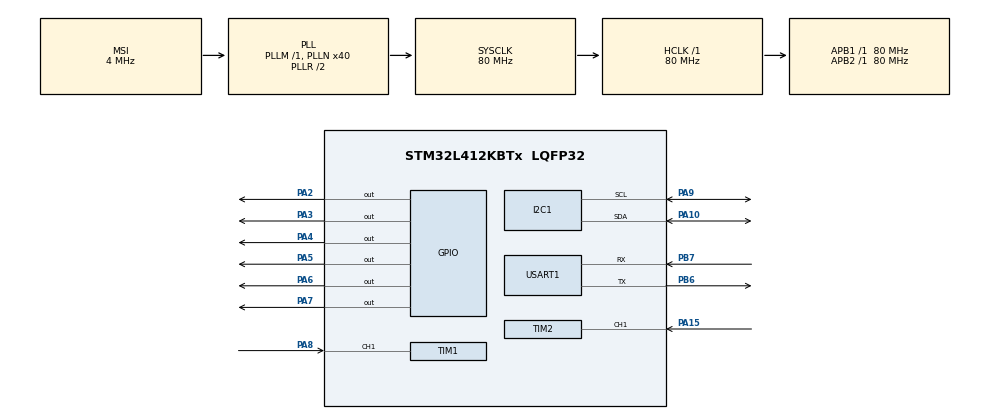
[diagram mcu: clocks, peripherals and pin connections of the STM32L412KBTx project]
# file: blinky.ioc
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I2C1.Timing=0x10D19CE4
Mcu.Family=STM32L4
Mcu.Name=STM32L412KBTx
Mcu.Package=LQFP32
NVIC.PriorityGroup=NVIC_PRIORITYGROUP_4
PA0-CK_IN.Mode=HSE-External-Clock-Source-for-LittleOrca
PA0-CK_IN.Signal=RCC_CK_IN
PA10.Mode=I2C
PA10.Signal=I2C1_SDA
PA13\ (JTMS/SWDIO).Mode=Serial_Wire
PA13\ (JTMS/SWDIO).Signal=SYS_JTMS-SWDIO
PA14\ (JTCK/SWCLK).Mode=Serial_Wire
PA14\ (JTCK/SWCLK).Signal=SYS_JTCK-SWCLK
PA15\ (JTDI).Signal=S_TIM2_CH1
PA2.GPIO_ModeDefaultOutputPP=GPIO_MODE_OUTPUT_PP
PA2.GPIO_PuPd=GPIO_NOPULL
PA2.GPIO_Speed=GPIO_SPEED_FREQ_VERY_HIGH
PA2.PinState=GPIO_PIN_RESET
PA2.Signal=GPIO_Output
PA3.GPIO_ModeDefaultOutputPP=GPIO_MODE_OUTPUT_PP
PA3.GPIO_PuPd=GPIO_NOPULL
PA3.GPIO_Speed=GPIO_SPEED_FREQ_VERY_HIGH
PA3.PinState=GPIO_PIN_RESET
PA3.Signal=GPIO_Output
PA4.GPIO_ModeDefaultOutputPP=GPIO_MODE_OUTPUT_PP
PA4.GPIO_PuPd=GPIO_NOPULL
PA4.GPIO_Speed=GPIO_SPEED_FREQ_VERY_HIGH
PA4.PinState=GPIO_PIN_RESET
PA4.Signal=GPIO_Output
PA5.GPIO_ModeDefaultOutputPP=GPIO_MODE_OUTPUT_PP
PA5.GPIO_PuPd=GPIO_NOPULL
PA5.GPIO_Speed=GPIO_SPEED_FREQ_VERY_HIGH
PA5.PinState=GPIO_PIN_RESET
PA5.Signal=GPIO_Output
PA6.GPIO_ModeDefaultOutputPP=GPIO_MODE_OUTPUT_PP
PA6.GPIO_PuPd=GPIO_NOPULL
PA6.GPIO_Speed=GPIO_SPEED_FREQ_VERY_HIGH
PA6.PinState=GPIO_PIN_RESET
PA6.Signal=GPIO_Output
PA7.GPIO_ModeDefaultOutputPP=GPIO_MODE_OUTPUT_PP
PA7.GPIO_PuPd=GPIO_NOPULL
PA7.GPIO_Speed=GPIO_SPEED_FREQ_VERY_HIGH
PA7.PinState=GPIO_PIN_RESET
PA7.Signal=GPIO_Output
PA8.Signal=S_TIM1_CH1
PA9.Mode=I2C
PA9.Signal=I2C1_SCL
PB6.Mode=Asynchronous
PB6.Signal=USART1_TX
PB7.Mode=Asynchronous
PB7.Signal=USART1_RX
ProjectManager.HeapSize=0x200
ProjectManager.StackSize=0x400
ProjectManager.TargetToolchain=STM32CubeIDE
RCC.ADCFreq_Value=80000000
RCC.AHBFreq_Value=80000000
RCC.APB1Freq_Value=80000000
RCC.APB1TimFreq_Value=80000000
RCC.APB2Freq_Value=80000000
RCC.APB2TimFreq_Value=80000000
RCC.CortexFreq_Value=80000000
RCC.HCLKFreq_Value=80000000
RCC.HSE_VALUE=8000000
RCC.HSI48_VALUE=48000000
RCC.HSI_VALUE=16000000
RCC.MSI_VALUE=4000000
RCC.PLLN=40
RCC.SYSCLKFreq_VALUE=80000000
RCC.SYSCLKSource=RCC_SYSCLKSOURCE_PLLCLK
RCC.USBFreq_Value=4000000
RCC.VCOOutputFreq_Value=160000000
SH.S_TIM1_CH1.0=TIM1_CH1,TriggerSource_TI1FP1
SH.S_TIM2_CH1.0=TIM2_CH1,TriggerSource_TI1FP1
TIM1.Slave_TriggerFilter=15
USART1.VirtualMode-Asynchronous=VM_ASYNC
VP_TIM1_VS_ControllerModeClock.Mode=Clock Mode
VP_TIM2_VS_ControllerModeClock.Mode=Clock Mode
board=custom

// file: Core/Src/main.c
/* USER CODE BEGIN Header */
/**
  ******************************************************************************
  * @file           : main.c
  * @brief          : Main program body
  ******************************************************************************
  * @attention
  *
  * Copyright (c) 2025 STMicroelectronics.
  * All rights reserved.
  *
  * This software is licensed under terms that can be found in the LICENSE file
  * in the root directory of this software component.
  * If no LICENSE file comes with this software, it is provided AS-IS.
  *
  ******************************************************************************
  */
/* USER CODE END Header */
#include "main.h"

I2C_HandleTypeDef hi2c1;

TIM_HandleTypeDef htim1;
TIM_HandleTypeDef htim2;

UART_HandleTypeDef huart1;

/* USER CODE BEGIN PV */
//lcd_t lcd;
/* USER CODE END PV */

void SystemClock_Config(void);
static void MX_GPIO_Init(void);
static void MX_I2C1_Init(void);
static void MX_USART1_UART_Init(void);
static void MX_TIM1_Init(void);
static void MX_TIM2_Init(void);

int main(void)
{

  /* MCU Configuration--------------------------------------------------------*/

  /* Reset of all peripherals, Initializes the Flash interface and the Systick. */
  HAL_Init();

  /* Configure the system clock */
  SystemClock_Config();

  /* Initialize all configured peripherals */
  MX_GPIO_Init();
  MX_I2C1_Init();
  MX_USART1_UART_Init();
  MX_TIM1_Init();
  MX_TIM2_Init();
  /* USER CODE BEGIN 2 */

  //lcd_send_string_pos(&lcd, "Hello, World!", 0, 0);
  //HAL_Delay(1);

  lcd_init_();
  lcd_clear();
  lcd_set_cursor(0, 0);
  lcd_print("Hello, STM32!");
  /* USER CODE END 2 */

  /* Infinite loop */
  while (1)
  {

  }
}

void SystemClock_Config(void)
{
  RCC_OscInitTypeDef RCC_OscInitStruct = {0};
  RCC_ClkInitTypeDef RCC_ClkInitStruct = {0};

  /** Configure the main internal regulator output voltage
  */
  if (HAL_PWREx_ControlVoltageScaling(PWR_REGULATOR_VOLTAGE_SCALE1) != HAL_OK)
  {
    Error_Handler();
  }

  /** Initializes the RCC Oscillators according to the specified parameters
  * in the RCC_OscInitTypeDef structure.
  */
  RCC_OscInitStruct.OscillatorType = RCC_OSCILLATORTYPE_MSI;
  RCC_OscInitStruct.MSIState = RCC_MSI_ON;
  RCC_OscInitStruct.MSICalibrationValue = 0;
  RCC_OscInitStruct.MSIClockRange = RCC_MSIRANGE_6;
  RCC_OscInitStruct.PLL.PLLState = RCC_PLL_ON;
  RCC_OscInitStruct.PLL.PLLSource = RCC_PLLSOURCE_MSI;
  RCC_OscInitStruct.PLL.PLLM = 1;
  RCC_OscInitStruct.PLL.PLLN = 40;
  RCC_OscInitStruct.PLL.PLLQ = RCC_PLLQ_DIV2;
  RCC_OscInitStruct.PLL.PLLR = RCC_PLLR_DIV2;
  if (HAL_RCC_OscConfig(&RCC_OscInitStruct) != HAL_OK)
  {
    Error_Handler();
  }

  /** Initializes the CPU, AHB and APB buses clocks
  */
  RCC_ClkInitStruct.ClockType = RCC_CLOCKTYPE_HCLK|RCC_CLOCKTYPE_SYSCLK
                              |RCC_CLOCKTYPE_PCLK1|RCC_CLOCKTYPE_PCLK2;
  RCC_ClkInitStruct.SYSCLKSource = RCC_SYSCLKSOURCE_PLLCLK;
  RCC_ClkInitStruct.AHBCLKDivider = RCC_SYSCLK_DIV1;
  RCC_ClkInitStruct.APB1CLKDivider = RCC_HCLK_DIV1;
  RCC_ClkInitStruct.APB2CLKDivider = RCC_HCLK_DIV1;

  if (HAL_RCC_ClockConfig(&RCC_ClkInitStruct, FLASH_LATENCY_4) != HAL_OK)
  {
    Error_Handler();
  }
}

static void MX_I2C1_Init(void)
{

  hi2c1.Instance = I2C1;
  hi2c1.Init.Timing = 0x10D19CE4;
  hi2c1.Init.OwnAddress1 = 0;
  hi2c1.Init.AddressingMode = I2C_ADDRESSINGMODE_7BIT;
  hi2c1.Init.DualAddressMode = I2C_DUALADDRESS_DISABLE;
  hi2c1.Init.OwnAddress2 = 0;
  hi2c1.Init.OwnAddress2Masks = I2C_OA2_NOMASK;
  hi2c1.Init.GeneralCallMode = I2C_GENERALCALL_DISABLE;
  hi2c1.Init.NoStretchMode = I2C_NOSTRETCH_DISABLE;
  if (HAL_I2C_Init(&hi2c1) != HAL_OK)
  {
    Error_Handler();
  }

  /** Configure Analogue filter
  */
  if (HAL_I2CEx_ConfigAnalogFilter(&hi2c1, I2C_ANALOGFILTER_ENABLE) != HAL_OK)
  {
    Error_Handler();
  }

  /** Configure Digital filter
  */
  if (HAL_I2CEx_ConfigDigitalFilter(&hi2c1, 0) != HAL_OK)
  {
    Error_Handler();
  }

}

static void MX_TIM1_Init(void)
{

  TIM_SlaveConfigTypeDef sSlaveConfig = {0};
  TIM_MasterConfigTypeDef sMasterConfig = {0};

  htim1.Instance = TIM1;
  htim1.Init.Prescaler = 0;
  htim1.Init.CounterMode = TIM_COUNTERMODE_UP;
  htim1.Init.Period = 65535;
  htim1.Init.ClockDivision = TIM_CLOCKDIVISION_DIV1;
  htim1.Init.RepetitionCounter = 0;
  htim1.Init.AutoReloadPreload = TIM_AUTORELOAD_PRELOAD_DISABLE;
  if (HAL_TIM_Base_Init(&htim1) != HAL_OK)
  {
    Error_Handler();
  }
  sSlaveConfig.SlaveMode = TIM_SLAVEMODE_EXTERNAL1;
  sSlaveConfig.InputTrigger = TIM_TS_TI1FP1;
  sSlaveConfig.TriggerPolarity = TIM_TRIGGERPOLARITY_RISING;
  sSlaveConfig.TriggerFilter = 15;
  if (HAL_TIM_SlaveConfigSynchro(&htim1, &sSlaveConfig) != HAL_OK)
  {
    Error_Handler();
  }
  sMasterConfig.MasterOutputTrigger = TIM_TRGO_RESET;
  sMasterConfig.MasterOutputTrigger2 = TIM_TRGO2_RESET;
  sMasterConfig.MasterSlaveMode = TIM_MASTERSLAVEMODE_DISABLE;
  if (HAL_TIMEx_MasterConfigSynchronization(&htim1, &sMasterConfig) != HAL_OK)
  {
    Error_Handler();
  }

}

static void MX_TIM2_Init(void)
{

  TIM_SlaveConfigTypeDef sSlaveConfig = {0};
  TIM_MasterConfigTypeDef sMasterConfig = {0};

  htim2.Instance = TIM2;
  htim2.Init.Prescaler = 0;
  htim2.Init.CounterMode = TIM_COUNTERMODE_UP;
  htim2.Init.Period = 4294967295;
  htim2.Init.ClockDivision = TIM_CLOCKDIVISION_DIV1;
  htim2.Init.AutoReloadPreload = TIM_AUTORELOAD_PRELOAD_DISABLE;
  if (HAL_TIM_Base_Init(&htim2) != HAL_OK)
  {
    Error_Handler();
  }
  sSlaveConfig.SlaveMode = TIM_SLAVEMODE_EXTERNAL1;
  sSlaveConfig.InputTrigger = TIM_TS_TI1FP1;
  sSlaveConfig.TriggerPolarity = TIM_TRIGGERPOLARITY_RISING;
  sSlaveConfig.TriggerFilter = 0;
  if (HAL_TIM_SlaveConfigSynchro(&htim2, &sSlaveConfig) != HAL_OK)
  {
    Error_Handler();
  }
  sMasterConfig.MasterOutputTrigger = TIM_TRGO_RESET;
  sMasterConfig.MasterSlaveMode = TIM_MASTERSLAVEMODE_DISABLE;
  if (HAL_TIMEx_MasterConfigSynchronization(&htim2, &sMasterConfig) != HAL_OK)
  {
    Error_Handler();
  }

}

static void MX_USART1_UART_Init(void)
{

  huart1.Instance = USART1;
  huart1.Init.BaudRate = 115200;
  huart1.Init.WordLength = UART_WORDLENGTH_8B;
  huart1.Init.StopBits = UART_STOPBITS_1;
  huart1.Init.Parity = UART_PARITY_NONE;
  huart1.Init.Mode = UART_MODE_TX_RX;
  huart1.Init.HwFlowCtl = UART_HWCONTROL_NONE;
  huart1.Init.OverSampling = UART_OVERSAMPLING_16;
  huart1.Init.OneBitSampling = UART_ONE_BIT_SAMPLE_DISABLE;
  huart1.AdvancedInit.AdvFeatureInit = UART_ADVFEATURE_NO_INIT;
  if (HAL_UART_Init(&huart1) != HAL_OK)
  {
    Error_Handler();
  }

}

static void MX_GPIO_Init(void)
{
  GPIO_InitTypeDef GPIO_InitStruct = {0};
  /* USER CODE BEGIN MX_GPIO_Init_1 */
    /* Inicialização dos pinos de controle do LCD */
  /* USER CODE END MX_GPIO_Init_1 */

  /* GPIO Ports Clock Enable */
  __HAL_RCC_GPIOA_CLK_ENABLE();
  __HAL_RCC_GPIOB_CLK_ENABLE();

  /*Configure GPIO pin Output Level */
  HAL_GPIO_WritePin(GPIOA, GPIO_PIN_2|GPIO_PIN_3|GPIO_PIN_4|GPIO_PIN_5
                          |GPIO_PIN_6|GPIO_PIN_7, GPIO_PIN_RESET);

  /*Configure GPIO pins : PA2 PA3 PA4 PA5
                           PA6 PA7 */
  GPIO_InitStruct.Pin = GPIO_PIN_2|GPIO_PIN_3|GPIO_PIN_4|GPIO_PIN_5
                          |GPIO_PIN_6|GPIO_PIN_7;
  GPIO_InitStruct.Mode = GPIO_MODE_OUTPUT_PP;
  GPIO_InitStruct.Pull = GPIO_NOPULL;
  GPIO_InitStruct.Speed = GPIO_SPEED_FREQ_VERY_HIGH;
  HAL_GPIO_Init(GPIOA, &GPIO_InitStruct);

  /* USER CODE BEGIN MX_GPIO_Init_2 */
    /* Qualquer outro código de inicialização se necessário */
  /* USER CODE END MX_GPIO_Init_2 */
}

/* USER CODE BEGIN 4 */
void lcd_send(uint8_t data);

void lcd_send_command(uint8_t cmd) {
    HAL_GPIO_WritePin(GPIOA, LCD_RS_PIN, GPIO_PIN_RESET);
    lcd_send(cmd);
    HAL_Delay(2);  // Delay adicional
}

void lcd_send_data(uint8_t data) {
    HAL_GPIO_WritePin(GPIOA, LCD_RS_PIN, GPIO_PIN_SET);
    lcd_send(data);
    HAL_Delay(2);  // Delay adicional
}

// Função para gerar o pulso de habilitação
void lcd_enable(void) {
    HAL_GPIO_WritePin(GPIOA, LCD_E_PIN, GPIO_PIN_SET);
    HAL_Delay(2);  // Delay ajustado
    HAL_GPIO_WritePin(GPIOA, LCD_E_PIN, GPIO_PIN_RESET);
    HAL_Delay(2);  // Delay ajustado
}

// Função interna para enviar um byte (comando ou dado)
void lcd_send(uint8_t data) {
    // Enviar nibble alto
    HAL_GPIO_WritePin(GPIOA, LCD_D7_PIN, (data >> 4) & 0x01);
    HAL_GPIO_WritePin(GPIOA, LCD_D6_PIN, (data >> 5) & 0x01);
    HAL_GPIO_WritePin(GPIOA, LCD_D5_PIN, (data >> 6) & 0x01);
    HAL_GPIO_WritePin(GPIOA, LCD_D4_PIN, (data >> 7) & 0x01);
    lcd_enable();

    // Enviar nibble baixo
    HAL_GPIO_WritePin(GPIOA, LCD_D7_PIN, (data >> 0) & 0x01);
    HAL_GPIO_WritePin(GPIOA, LCD_D6_PIN, (data >> 1) & 0x01);
    HAL_GPIO_WritePin(GPIOA, LCD_D5_PIN, (data >> 2) & 0x01);
    HAL_GPIO_WritePin(GPIOA, LCD_D4_PIN, (data >> 3) & 0x01);
    lcd_enable();
}

// Inicialização do LCD
void lcd_init_(void) {
    HAL_Delay(50);  // Esperar mais tempo após o boot

    lcd_send_command(0x03);
    HAL_Delay(5);
    lcd_send_command(0x03);
    HAL_Delay(5);
    lcd_send_command(0x03);
    HAL_Delay(5);
    lcd_send_command(0x02);  // Modo 4 bits
    HAL_Delay(5);

    lcd_send_command(LCD_FUNCTION_SET | 0x08);
    lcd_send_command(LCD_DISPLAY_CONTROL | LCD_DISPLAY_ON | LCD_CURSOR_OFF | LCD_BLINK_OFF);
    lcd_send_command(LCD_CLEAR_DISPLAY);
    HAL_Delay(2);
    lcd_send_command(LCD_ENTRY_MODE_SET | LCD_ENTRY_LEFT);
}

// Limpa o display
void lcd_clear(void) {
    lcd_send_command(LCD_CLEAR_DISPLAY);
    HAL_Delay(2);
}

// Define a posição do cursor
void lcd_set_cursor(uint8_t row, uint8_t col) {
    uint8_t address = (row == 0) ? 0x00 : 0x40;
    address += col;
    lcd_send_command(LCD_SET_DDRAM_ADDR | address);
}

// Escreve uma string no LCD
void lcd_print(char *str) {
    while (*str) {
        lcd_send_data(*str++);
    }
}
/* USER CODE END 4 */

void Error_Handler(void)
{
  __disable_irq();
  while (1)
  {
  }
}
